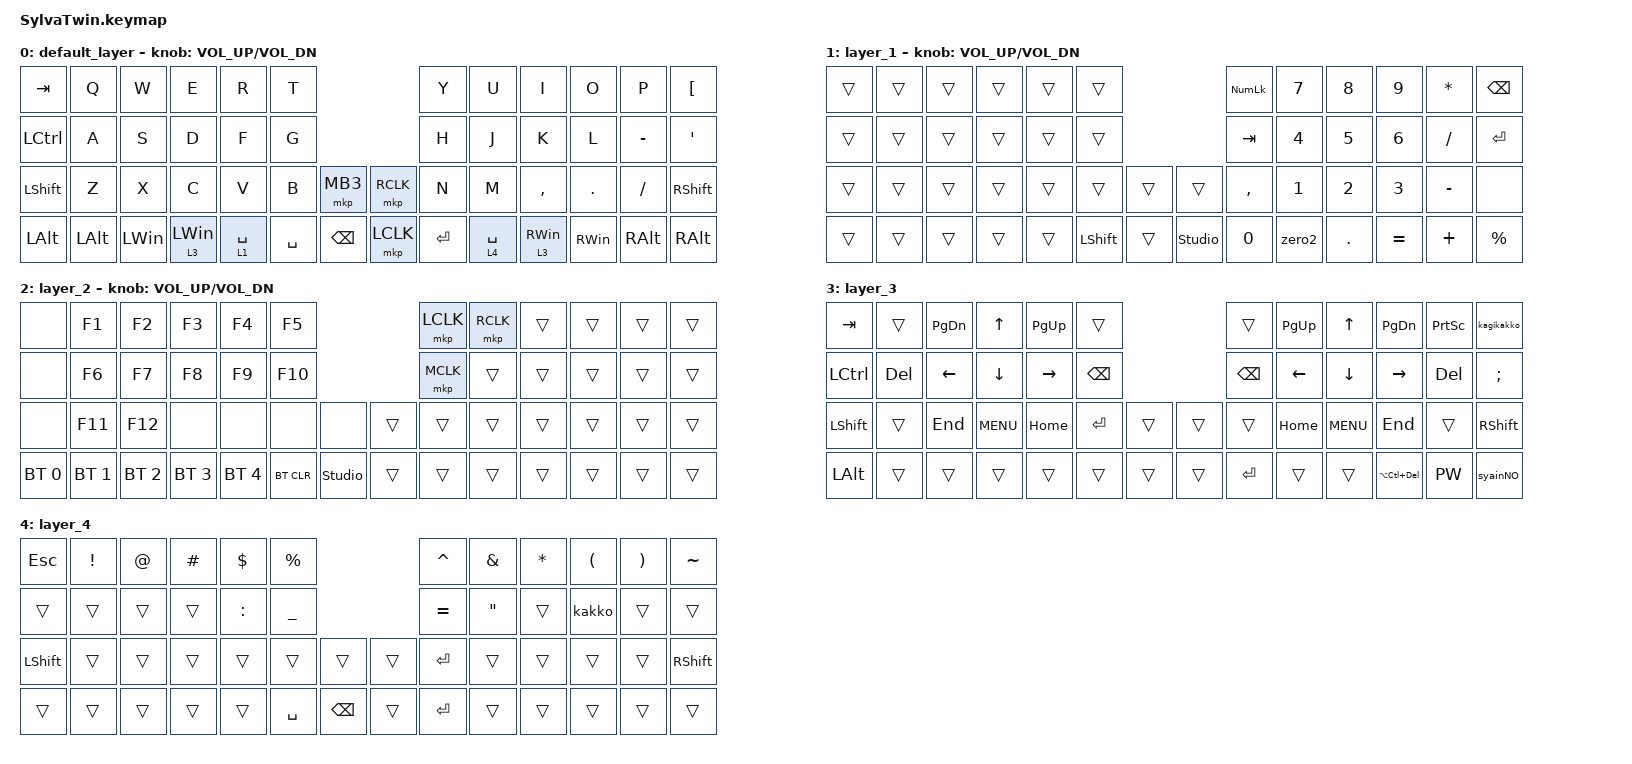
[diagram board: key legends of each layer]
/*
 * Copyright (c) 2020 The ZMK Contributors
 *
 * SPDX-License-Identifier: MIT
 */

#include <behaviors.dtsi>
#include <dt-bindings/zmk/bt.h>
#include <dt-bindings/zmk/keys.h>
#include <dt-bindings/zmk/pointing.h>

/ {
    combos {
        compatible = "zmk,combos";

        prtsc {
            bindings = <&kp PRINTSCREEN>;
            key-positions = <10 11>;
        };

        RightClick {
            bindings = <&mkp RCLK>;
            key-positions = <30 44>;
        };

        MiddleClick {
            bindings = <&mkp MCLK>;
            key-positions = <29 43>;
        };

        RightClick2 {
            bindings = <&mkp RCLK>;
            key-positions = <31 45>;
        };

        MiddleClick2 {
            bindings = <&mkp MCLK>;
            key-positions = <32 46>;
        };

        zen-han {
            bindings = <&kp GRAVE>;
            key-positions = <0 1>;
        };

        paste {
            bindings = <&kp LC(V)>;
            key-positions = <42 28>;
        };

        copy {
            bindings = <&kp LC(C)>;
            key-positions = <41 27>;
        };

        cut {
            bindings = <&kp LC(X)>;
            key-positions = <40 26>;
        };

        F1c {
            bindings = <&kp F1>;
            key-positions = <1 13>;
        };

        F2c {
            bindings = <&kp F2>;
            key-positions = <2 14>;
        };

        F3c {
            bindings = <&kp F3>;
            key-positions = <3 15>;
        };

        F4c {
            bindings = <&kp F4>;
            key-positions = <16 4>;
        };

        F5c {
            bindings = <&kp F5>;
            key-positions = <5 17>;
        };

        F6c {
            bindings = <&kp F6>;
            key-positions = <18 6>;
        };

        F7c {
            bindings = <&kp F7>;
            key-positions = <7 19>;
        };

        F8c {
            bindings = <&kp F8>;
            key-positions = <8 20>;
        };

        F9c {
            bindings = <&kp F9>;
            key-positions = <9 21>;
        };

        F10c {
            bindings = <&kp F10>;
            key-positions = <10 22>;
        };

        Mmodoru {
            bindings = <&mkp MB4>;
            key-positions = <31 32>;
        };

        Msusumu {
            bindings = <&mkp MB5>;
            key-positions = <45 46>;
        };
    };

    macros {
        syainNO: PS {
            compatible = "zmk,behavior-macro";
            #binding-cells = <0>;
            bindings = <&kp B &kp N0 &kp N9 &kp NUMBER_2 &kp N5 &kp N2 &kp N8 &kp N4>;
            label = "PS";
        };

        kagikakko: kagikakko {
            compatible = "zmk,behavior-macro";
            #binding-cells = <0>;
            bindings = <&kp LS(LEFT_BRACKET) &kp LS(RIGHT_BRACKET) &kp ENTER &kp LEFT>;
            label = "KAGIKAKKO";
        };

        PW: PW {
            compatible = "zmk,behavior-macro";
            #binding-cells = <0>;
            bindings = <&kp LS(T) &kp H &kp E &kp H &kp I &kp E &kp R &kp O &kp P &kp H &kp A &kp N &kp T &kp N5>;
            label = "PW";
        };

        zero2: zero2 {
            compatible = "zmk,behavior-macro";
            #binding-cells = <0>;
            bindings = <&kp N0 &kp N0>;
            label = "ZERO2";
        };

        kakko: kakko {
            compatible = "zmk,behavior-macro";
            #binding-cells = <0>;
            bindings = <&kp LEFT_PARENTHESIS &kp RIGHT_PARENTHESIS &kp ENTER &kp LEFT>;
            label = "KAKKO";
        };
    };

    keymap {
        compatible = "zmk,keymap";

        default_layer {
            bindings = <
&kp TAB       &kp Q         &kp W         &kp E           &kp R        &kp T                                &kp Y      &kp U        &kp I            &kp O          &kp P          &kp LEFT_BRACKET
&kp LCTRL     &kp A         &kp S         &kp D           &kp F        &kp G                                &kp H      &kp J        &kp K            &kp L          &kp MINUS      &kp SQT
&kp LSHIFT    &kp Z         &kp X         &kp C           &kp V        &kp B      &mkp MB3       &mkp RCLK  &kp N      &kp M        &kp COMMA        &kp DOT        &kp SLASH      &kp RSHIFT
&kp LEFT_ALT  &kp LEFT_ALT  &kp LEFT_WIN  &lt 3 LEFT_WIN  &lt 1 SPACE  &kp SPACE  &kp BACKSPACE  &mkp LCLK  &kp ENTER  &lt 4 SPACE  &lt 3 RIGHT_WIN  &kp RIGHT_WIN  &kp RIGHT_ALT  &kp RIGHT_ALT
            >;

            sensor-bindings = <&inc_dec_kp C_VOL_UP C_VOL_DN>;
        };

        layer_1 {
            bindings = <
&trans  &trans  &trans  &trans  &trans  &trans                                  &kp KP_NUMLOCK  &kp N7        &kp N8      &kp N9     &kp ASTERISK  &kp BACKSPACE
&trans  &trans  &trans  &trans  &trans  &trans                                  &kp TAB         &kp NUMBER_4  &kp N5      &kp N6     &kp SLASH     &kp ENTER
&trans  &trans  &trans  &trans  &trans  &trans          &trans  &trans          &kp COMMA       &kp N1        &kp N2      &kp N3     &kp MINUS     &none
&trans  &trans  &trans  &trans  &trans  &kp LEFT_SHIFT  &trans  &studio_unlock  &kp NUMBER_0    &zero2        &kp PERIOD  &kp EQUAL  &kp PLUS      &kp PERCENT
            >;

            sensor-bindings = <&inc_dec_kp C_VOL_UP C_VOL_DN>;
        };

        layer_2 {
            bindings = <
&none         &kp F1        &kp F2        &kp F3        &kp F4        &kp F5                              &mkp LCLK  &mkp RCLK  &trans  &trans  &trans  &trans
&none         &kp F6        &kp F7        &kp F8        &kp F9        &kp F10                             &mkp MCLK  &trans     &trans  &trans  &trans  &trans
&none         &kp F11       &kp F12       &none         &none         &none       &none           &trans  &trans     &trans     &trans  &trans  &trans  &trans
&bt BT_SEL 0  &bt BT_SEL 1  &bt BT_SEL 2  &bt BT_SEL 3  &bt BT_SEL 4  &bt BT_CLR  &studio_unlock  &trans  &trans     &trans     &trans  &trans  &trans  &trans
            >;

            sensor-bindings = <&inc_dec_kp C_VOL_UP C_VOL_DN>;
        };

        layer_3 {
            bindings = <
&kp TAB         &trans   &kp PAGE_DOWN  &kp UP      &kp PAGE_UP  &trans                         &trans         &kp PAGE_UP  &kp UP_ARROW  &kp PAGE_DOWN    &kp PRINTSCREEN  &kagikakko
&kp LCTRL       &kp DEL  &kp LEFT       &kp DOWN    &kp RIGHT    &kp BACKSPACE                  &kp BACKSPACE  &kp LEFT     &kp DOWN      &kp RIGHT        &kp DEL          &kp SEMICOLON
&kp LEFT_SHIFT  &trans   &kp END        &kp C_MENU  &kp HOME     &kp ENTER      &trans  &trans  &trans         &kp HOME     &kp C_MENU    &kp END          &trans           &kp RIGHT_SHIFT
&kp LEFT_ALT    &trans   &trans         &trans      &trans       &trans         &trans  &trans  &kp ENTER      &trans       &trans        &kp LA(LC(DEL))  &PW              &syainNO
            >;
        };

        layer_4 {
            bindings = <
&kp ESC         &kp EXCLAMATION  &kp AT_SIGN  &kp HASH  &kp DOLLAR  &kp PERCENT                            &kp CARET  &kp AMPERSAND      &kp ASTERISK  &kp LEFT_PARENTHESIS  &kp RIGHT_PARENTHESIS  &kp TILDE
&trans          &trans           &trans       &trans    &kp COLON   &kp UNDERSCORE                         &kp EQUAL  &kp DOUBLE_QUOTES  &trans        &kakko                &trans                 &trans
&kp LEFT_SHIFT  &trans           &trans       &trans    &trans      &trans          &trans         &trans  &kp ENTER  &trans             &trans        &trans                &trans                 &kp RIGHT_SHIFT
&trans          &trans           &trans       &trans    &trans      &kp SPACE       &kp BACKSPACE  &trans  &kp ENTER  &trans             &trans        &trans                &trans                 &trans
            >;
        };
    };
};
